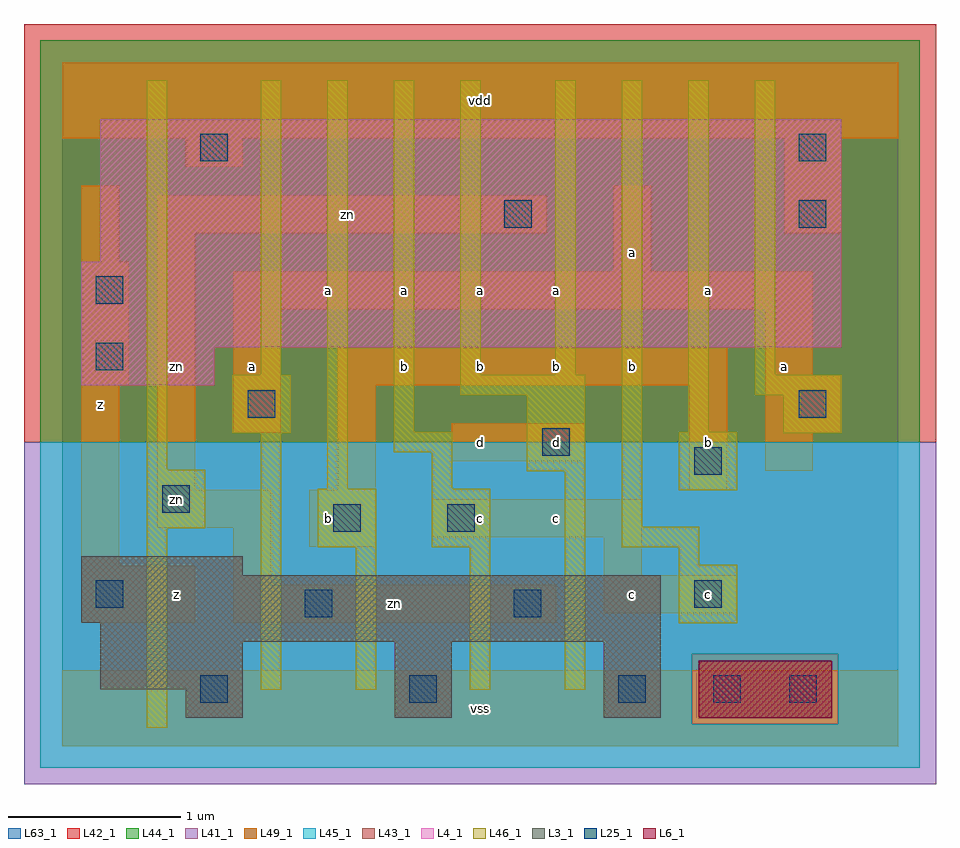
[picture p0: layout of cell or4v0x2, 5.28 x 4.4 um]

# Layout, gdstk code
import gdstk
lib = gdstk.Library(unit=1e-6, precision=1e-09)
def R(c, l, rs):  # rectangles x0, y0, x1, y1
    for r in rs: c.add(gdstk.rectangle(r[:2], r[2:], *l))
def A(c, l, x, y, w, h, nx, ny, dx, dy):  # array of equal rectangles
    R(c, l, [(x+i*dx, y+j*dy, x+i*dx+w, y+j*dy+h) for i in range(nx) for j in range(ny)])
L3_1 = (3, 1)
L4_1 = (4, 1)
L6_1 = (6, 1)
L25_1 = (25, 1)
L41_1 = (41, 1)
L42_1 = (42, 1)
L43_1 = (43, 1)
L44_1 = (44, 1)
L45_1 = (45, 1)
L46_1 = (46, 1)
L49_1 = (49, 1)
L63_1 = (63, 1)

or4v0x2 = lib.new_cell('or4v0x2')
R(or4v0x2, L3_1, [(0.715,0.165,1.045,0.33), (1.925,0.165,2.255,0.605), (3.135,0.165,3.465,0.605), (0.22,0.33,1.045,0.605), (0.22,0.605,3.465,0.715), (0.11,0.715,3.465,0.99), (0.11,0.99,1.045,1.1)])
R(or4v0x2, L4_1, [(0.11,2.09,0.88,2.31), (0.11,2.31,4.51,2.805), (0.22,2.805,4.51,3.63)])
R(or4v0x2, L6_1, [(3.685,0.165,4.455,0.495)])
A(or4v0x2, L25_1, 0.8, 0.25, 0.16, 0.16, 3, 1, 1.21, 0)
R(or4v0x2, L25_1, [(3.77,0.25,3.93,0.41), (4.21,0.25,4.37,0.41), (1.405,0.745,1.565,0.905), (2.615,0.745,2.775,0.905), (0.195,0.8,0.355,0.96), (3.66,0.8,3.82,0.96), (1.57,1.24,1.73,1.4), (2.23,1.24,2.39,1.4), (0.58,1.35,0.74,1.51), (3.66,1.57,3.82,1.73), (2.78,1.68,2.94,1.84), (1.075,1.9,1.235,2.06), (4.265,1.9,4.425,2.06), (0.195,2.175,0.355,2.335), (0.195,2.56,0.355,2.72), (2.56,3,2.72,3.16), (4.265,3,4.425,3.16), (0.8,3.385,0.96,3.545), (4.265,3.385,4.425,3.545)])
R(or4v0x2, L41_1, [(-0.22,-0.22,5.06,1.76)])
R(or4v0x2, L42_1, [(-0.22,1.76,5.06,4.18)])
R(or4v0x2, L43_1, [(0.715,0.165,1.045,0.33), (1.925,0.165,2.255,0.605), (3.135,0.165,3.465,0.605), (3.685,0.165,4.455,0.495), (0.22,0.33,1.045,0.605), (0.22,0.605,3.465,0.715), (0.11,0.715,3.465,0.99), (0.11,0.99,1.045,1.1), (0.11,2.09,0.88,2.31), (0.11,2.31,4.51,2.805), (0.22,2.805,4.51,3.63)])
R(or4v0x2, L44_1, [(3.645,0.125,4.495,0.535), (-0.125,1.76,4.965,4.085)])
R(or4v0x2, L45_1, [(-0.125,-0.125,4.965,0.125), (-0.125,0.125,3.645,0.535), (4.495,0.125,4.965,0.535), (-0.125,0.535,4.965,1.76)])
R(or4v0x2, L46_1, [(0.49,0.105,0.61,1.26), (1.15,0.325,1.27,1.81), (1.7,0.325,1.82,1.15), (2.36,0.325,2.48,1.15), (2.91,0.325,3.03,1.59), (3.57,0.71,3.91,1.05), (3.57,1.05,3.69,1.15), (1.48,1.15,1.82,1.49), (2.14,1.15,2.48,1.49), (3.24,1.15,3.69,1.27), (0.49,1.26,0.83,1.6), (3.24,1.27,3.36,3.855), (3.57,1.48,3.91,1.82), (1.535,1.49,1.655,3.855), (2.14,1.49,2.26,1.7), (2.69,1.59,3.03,2.03), (0.49,1.6,0.61,3.855), (1.92,1.7,2.26,1.82), (0.985,1.81,1.325,2.15), (4.175,1.81,4.515,2.03), (1.92,1.82,2.04,3.855), (3.625,1.82,3.745,3.855), (2.305,2.03,3.03,2.15), (4.01,2.03,4.515,2.15), (1.15,2.15,1.27,3.855), (2.305,2.15,2.425,3.855), (2.855,2.15,2.975,3.855), (4.01,2.15,4.13,3.855)])
R(or4v0x2, L49_1, [(0,0,4.84,0.44), (0.11,0.715,0.77,1.045), (0.99,0.715,2.86,0.935), (3.135,0.77,3.905,0.99), (0.99,0.935,1.21,1.265), (3.135,0.99,3.355,1.21), (0.11,1.045,0.33,2.09), (1.43,1.155,1.815,1.485), (2.145,1.21,3.355,1.43), (0.55,1.265,1.21,1.485), (0.55,1.485,0.77,2.97), (1.595,1.485,1.815,2.09), (3.63,1.485,3.85,2.09), (4.07,1.595,4.345,1.815), (2.255,1.65,3.025,1.87), (0.99,1.815,1.265,2.53), (4.07,1.815,4.51,2.145), (0.11,2.09,0.385,2.805), (1.595,2.09,3.85,2.31), (4.07,2.145,4.345,2.53), (0.99,2.53,4.345,2.75), (3.19,2.75,3.41,3.245), (0.11,2.805,0.33,3.245), (0.55,2.97,2.805,3.19), (4.18,2.97,4.51,3.52), (0.715,3.355,1.045,3.52), (0,3.52,4.84,3.96)])
R(or4v0x2, L63_1, [(0,0,4.84,3.96)])
or4v0x2.add(gdstk.Label('zn', (0.66,1.43), layer=49, texttype=1))
or4v0x2.add(gdstk.Label('z', (0.66,0.88), layer=49, texttype=1))
or4v0x2.add(gdstk.Label('z', (0.22,1.98), layer=49, texttype=1))
or4v0x2.add(gdstk.Label('zn', (0.66,2.2), layer=49, texttype=1))
or4v0x2.add(gdstk.Label('b', (1.54,1.32), layer=49, texttype=1))
or4v0x2.add(gdstk.Label('a', (1.1,2.2), layer=49, texttype=1))
or4v0x2.add(gdstk.Label('a', (1.54,2.64), layer=49, texttype=1))
or4v0x2.add(gdstk.Label('vss', (2.42,0.22), layer=49, texttype=1))
or4v0x2.add(gdstk.Label('zn', (1.925,0.825), layer=49, texttype=1))
or4v0x2.add(gdstk.Label('c', (2.42,1.32), layer=49, texttype=1))
or4v0x2.add(gdstk.Label('d', (2.42,1.76), layer=49, texttype=1))
or4v0x2.add(gdstk.Label('b', (1.98,2.2), layer=49, texttype=1))
or4v0x2.add(gdstk.Label('b', (2.42,2.2), layer=49, texttype=1))
or4v0x2.add(gdstk.Label('a', (1.98,2.64), layer=49, texttype=1))
or4v0x2.add(gdstk.Label('a', (2.42,2.64), layer=49, texttype=1))
or4v0x2.add(gdstk.Label('zn', (1.65,3.08), layer=49, texttype=1))
or4v0x2.add(gdstk.Label('vdd', (2.42,3.74), layer=49, texttype=1))
or4v0x2.add(gdstk.Label('c', (3.3,0.88), layer=49, texttype=1))
or4v0x2.add(gdstk.Label('c', (3.74,0.88), layer=49, texttype=1))
or4v0x2.add(gdstk.Label('c', (2.86,1.32), layer=49, texttype=1))
or4v0x2.add(gdstk.Label('b', (3.74,1.76), layer=49, texttype=1))
or4v0x2.add(gdstk.Label('d', (2.86,1.76), layer=49, texttype=1))
or4v0x2.add(gdstk.Label('b', (2.86,2.2), layer=49, texttype=1))
or4v0x2.add(gdstk.Label('b', (3.3,2.2), layer=49, texttype=1))
or4v0x2.add(gdstk.Label('a', (2.86,2.64), layer=49, texttype=1))
or4v0x2.add(gdstk.Label('a', (3.3,2.86), layer=49, texttype=1))
or4v0x2.add(gdstk.Label('a', (3.74,2.64), layer=49, texttype=1))
or4v0x2.add(gdstk.Label('a', (4.18,2.2), layer=49, texttype=1))

lib.write_gds('or4v0x2.gds')
